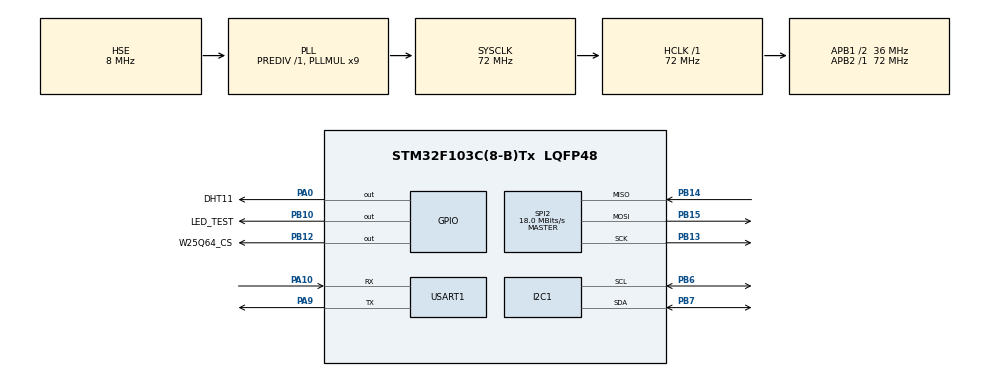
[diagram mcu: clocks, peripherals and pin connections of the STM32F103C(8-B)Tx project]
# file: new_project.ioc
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Mcu.Family=STM32F1
Mcu.Name=STM32F103C(8-B)Tx
Mcu.Package=LQFP48
NVIC.PriorityGroup=NVIC_PRIORITYGROUP_4
NVIC.USART1_IRQn=true\:0\:0\:false\:false\:true\:true\:true\:true
PA0-WKUP.GPIO_Label=DHT11
PA0-WKUP.Signal=GPIO_Output
PA10.Mode=Asynchronous
PA10.Signal=USART1_RX
PA13.Mode=Serial_Wire
PA13.Signal=SYS_JTMS-SWDIO
PA14.Mode=Serial_Wire
PA14.Signal=SYS_JTCK-SWCLK
PA9.Mode=Asynchronous
PA9.Signal=USART1_TX
PB10.GPIO_Label=LED_TEST
PB10.Signal=GPIO_Output
PB12.GPIO_Label=W25Q64_CS
PB12.PinState=GPIO_PIN_SET
PB12.Signal=GPIO_Output
PB13.Mode=Full_Duplex_Master
PB13.Signal=SPI2_SCK
PB14.Mode=Full_Duplex_Master
PB14.Signal=SPI2_MISO
PB15.Mode=Full_Duplex_Master
PB15.Signal=SPI2_MOSI
PB6.Mode=I2C
PB6.Signal=I2C1_SCL
PB7.Mode=I2C
PB7.Signal=I2C1_SDA
PC14-OSC32_IN.Mode=LSE-External-Oscillator
PC14-OSC32_IN.Signal=RCC_OSC32_IN
PC15-OSC32_OUT.Mode=LSE-External-Oscillator
PC15-OSC32_OUT.Signal=RCC_OSC32_OUT
PD0-OSC_IN.Mode=HSE-External-Oscillator
PD0-OSC_IN.Signal=RCC_OSC_IN
PD1-OSC_OUT.Mode=HSE-External-Oscillator
PD1-OSC_OUT.Signal=RCC_OSC_OUT
ProjectManager.HeapSize=0x200
ProjectManager.StackSize=0x400
ProjectManager.TargetToolchain=MDK-ARM V5.32
RCC.AHBFreq_Value=72000000
RCC.APB1CLKDivider=RCC_HCLK_DIV2
RCC.APB1Freq_Value=36000000
RCC.APB1TimFreq_Value=72000000
RCC.APB2Freq_Value=72000000
RCC.APB2TimFreq_Value=72000000
RCC.HCLKFreq_Value=72000000
RCC.PLLMUL=RCC_PLL_MUL9
RCC.PLLSourceVirtual=RCC_PLLSOURCE_HSE
RCC.SYSCLKFreq_VALUE=72000000
RCC.SYSCLKSource=RCC_SYSCLKSOURCE_PLLCLK
RCC.USBFreq_Value=72000000
SPI2.CalculateBaudRate=18.0 MBits/s
SPI2.Direction=SPI_DIRECTION_2LINES
SPI2.Mode=SPI_MODE_MASTER
SPI2.VirtualType=VM_MASTER
USART1.VirtualMode=VM_ASYNC
board=custom

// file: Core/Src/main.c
/* USER CODE BEGIN Header */
/**
 ******************************************************************************
 * @file           : main.c
 * @brief          : Main program body
 ******************************************************************************
 * @attention
 *
 * Copyright (c) 2025 STMicroelectronics.
 * All rights reserved.
 *
 * This software is licensed under terms that can be found in the LICENSE file
 * in the root directory of this software component.
 * If no LICENSE file comes with this software, it is provided AS-IS.
 *
 ******************************************************************************
 */
/* USER CODE END Header */
#include "main.h"
#include "i2c.h"
#include "spi.h"
#include "usart.h"
#include "gpio.h"

/* USER CODE BEGIN Includes */
#include "W25Q64.h"
#include <string.h>
#include <stdio.h>
#include "dht11.h"
#include "OLED.h"
/* USER CODE END Includes */

/* USER CODE BEGIN PV */
// 声明外部变量
extern char rx_buffer[];
extern volatile uint16_t rx_index;
extern volatile uint8_t receive_complete;
/* USER CODE END PV */

void SystemClock_Config(void);

/* USER CODE BEGIN PFP */
void Enable_DWT(void);
void delay_us(uint32_t us);
/* USER CODE END PFP */

int main(void)
{

  /* MCU Configuration--------------------------------------------------------*/

  /* Reset of all peripherals, Initializes the Flash interface and the Systick. */
  HAL_Init();

  /* Configure the system clock */
  SystemClock_Config();

  /* USER CODE BEGIN SysInit */
  Enable_DWT();
  /* USER CODE END SysInit */

  /* Initialize all configured peripherals */
  MX_GPIO_Init();
  MX_USART1_UART_Init();
  MX_SPI2_Init();
  MX_I2C1_Init();
  /* USER CODE BEGIN 2 */
  printf("System initialized!\r\n");
  DHT11_Init();
  OLED_Init();
  OLED_Clear();
  OLED_ShowString(1, 1, "Waiting Data...");

  // 启用UART接收中断
  HAL_UART_Receive_IT(&huart1, (uint8_t *)rx_buffer, 1);
  /* USER CODE END 2 */

  /* Infinite loop */
  /* USER CODE BEGIN WHILE */
  DHT11_Data_TypeDef dht11_data;

  while (1)
  {
    if(DHT11_Read_Data(&dht11_data) == 0)
    {
        printf("Temperature: %d.%dC, Humidity: %d.%d%%",
               dht11_data.temperature_int, dht11_data.temperature_dec,
               dht11_data.humidity_int, dht11_data.humidity_dec);
    }
    else
    {
        printf("DHT11 Read Failed!\r\n");
    }

    HAL_GPIO_WritePin(LED_TEST_GPIO_Port, LED_TEST_Pin, GPIO_PIN_RESET);
    // ??10?
    // HAL_Delay(10000);
    HAL_GPIO_WritePin(LED_TEST_GPIO_Port, LED_TEST_Pin, GPIO_PIN_SET);
    HAL_Delay(5000);
    /* USER CODE END WHILE */

  }
}

void SystemClock_Config(void)
{
  RCC_OscInitTypeDef RCC_OscInitStruct = {0};
  RCC_ClkInitTypeDef RCC_ClkInitStruct = {0};

  /** Initializes the RCC Oscillators according to the specified parameters
  * in the RCC_OscInitTypeDef structure.
  */
  RCC_OscInitStruct.OscillatorType = RCC_OSCILLATORTYPE_HSE;
  RCC_OscInitStruct.HSEState = RCC_HSE_ON;
  RCC_OscInitStruct.HSEPredivValue = RCC_HSE_PREDIV_DIV1;
  RCC_OscInitStruct.HSIState = RCC_HSI_ON;
  RCC_OscInitStruct.PLL.PLLState = RCC_PLL_ON;
  RCC_OscInitStruct.PLL.PLLSource = RCC_PLLSOURCE_HSE;
  RCC_OscInitStruct.PLL.PLLMUL = RCC_PLL_MUL9;
  if (HAL_RCC_OscConfig(&RCC_OscInitStruct) != HAL_OK)
  {
    Error_Handler();
  }

  /** Initializes the CPU, AHB and APB buses clocks
  */
  RCC_ClkInitStruct.ClockType = RCC_CLOCKTYPE_HCLK|RCC_CLOCKTYPE_SYSCLK
                              |RCC_CLOCKTYPE_PCLK1|RCC_CLOCKTYPE_PCLK2;
  RCC_ClkInitStruct.SYSCLKSource = RCC_SYSCLKSOURCE_PLLCLK;
  RCC_ClkInitStruct.AHBCLKDivider = RCC_SYSCLK_DIV1;
  RCC_ClkInitStruct.APB1CLKDivider = RCC_HCLK_DIV2;
  RCC_ClkInitStruct.APB2CLKDivider = RCC_HCLK_DIV1;

  if (HAL_RCC_ClockConfig(&RCC_ClkInitStruct, FLASH_LATENCY_2) != HAL_OK)
  {
    Error_Handler();
  }
}

/* USER CODE BEGIN 4 */
void Enable_DWT(void) {
    CoreDebug->DEMCR |= CoreDebug_DEMCR_TRCENA_Msk; //enable DWT
    DWT->CYCCNT = 0; // reset period counter
    DWT->CTRL |= DWT_CTRL_CYCCNTENA_Msk; // enable period counter
}

void delay_us(uint32_t us)
{
  uint32_t ticks = us * (SystemCoreClock / 1000000); // compute ticks
  uint32_t start = DWT->CYCCNT;                      // get current period counter value
  while ((DWT->CYCCNT - start) < ticks)
    ; // wait for specified period
}
/* USER CODE END 4 */

void Error_Handler(void)
{
  __disable_irq();
  while (1)
  {
  }
}
